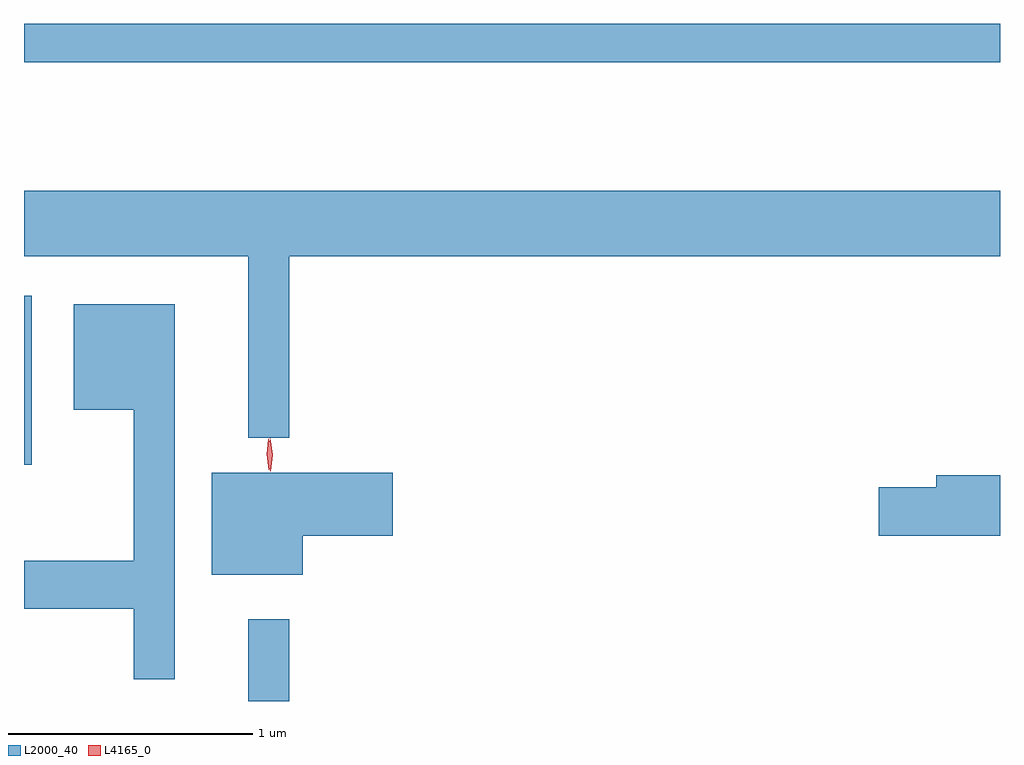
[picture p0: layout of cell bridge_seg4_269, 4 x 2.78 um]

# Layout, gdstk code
import gdstk
lib = gdstk.Library(unit=1e-6, precision=1e-09)
def R(c, l, rs):  # rectangles x0, y0, x1, y1
    for r in rs: c.add(gdstk.rectangle(r[:2], r[2:], *l))
def P(c, l, *ps):  # polygons
    for p in ps: c.add(gdstk.Polygon(p, *l))
L2000_40 = (2000, 40)
L4165_0 = (4165, 0)

bridge_seg4_269 = lib.new_cell('bridge_seg4_269')
R(bridge_seg4_269, L2000_40, [(520.521,1383.932,520.689,1384.268), (519.602,1384.901,519.634,1385.594), (519.602,1386.551,523.602,1386.709)])
P(bridge_seg4_269, L2000_40, [(520.689,1385.756),(523.602,1385.756),(523.602,1386.024),(519.602,1386.024),(519.602,1385.756),(520.521,1385.756),(520.521,1385.013),(520.689,1385.013)],
  [(520.219,1385.559),(519.806,1385.559),(519.806,1385.126),(520.051,1385.126),(520.051,1384.509),(519.602,1384.509),(519.602,1384.311),(520.051,1384.311),(520.051,1384.023),(520.219,1384.023)],
  [(520.744,1384.611),(521.114,1384.611),(521.114,1384.869),(520.371,1384.869),(520.371,1384.451),(520.744,1384.451)],
  [(523.602,1384.859),(523.341,1384.859),(523.341,1384.809),(523.106,1384.809),(523.106,1384.611),(523.602,1384.611)])
P(bridge_seg4_269, L4165_0, [(520.612,1384.874),(520.602,1384.942),(520.611,1385.01),(520.612,1385.01),(520.612,1385.01),(520.622,1384.942),(520.613,1384.874),(520.613,1384.874)],
  [(520.606,1384.88),(520.606,1384.881),(520.596,1384.944),(520.604,1385.006),(520.605,1385.007),(520.605,1385.006),(520.615,1384.944),(520.607,1384.881)])

lib.write_gds('bridge_seg4_269.gds')
